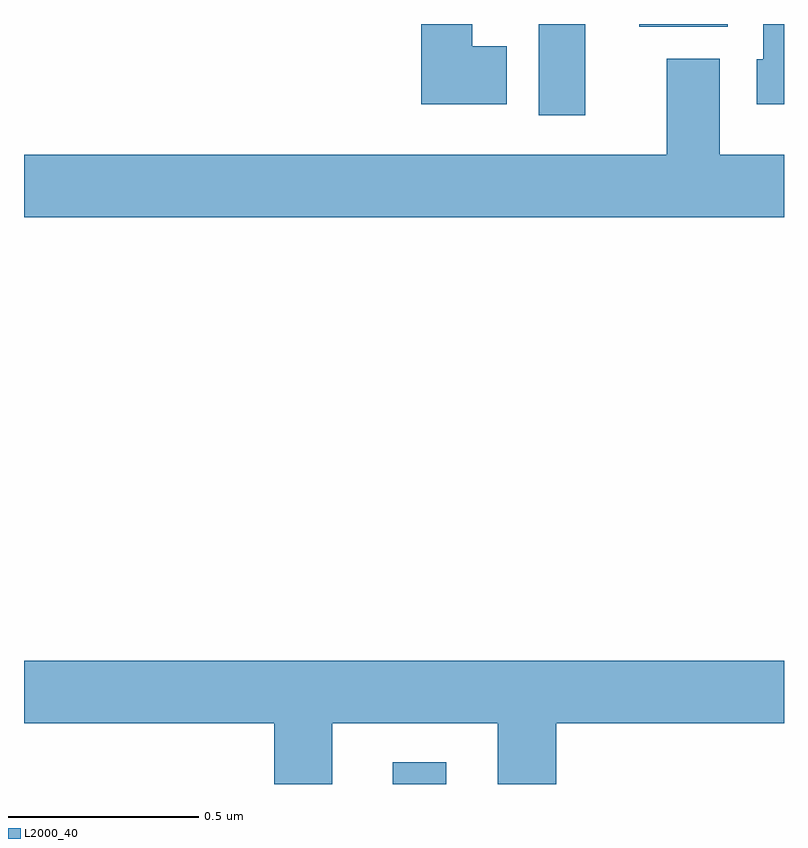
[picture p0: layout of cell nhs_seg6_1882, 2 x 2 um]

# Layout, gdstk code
import gdstk
lib = gdstk.Library(unit=1e-6, precision=1e-09)
def R(c, l, rs):  # rectangles x0, y0, x1, y1
    for r in rs: c.add(gdstk.rectangle(r[:2], r[2:], *l))
def P(c, l, *ps):  # polygons
    for p in ps: c.add(gdstk.Polygon(p, *l))
L2000_40 = (2000, 40)

nhs_seg6_1882 = lib.new_cell('nhs_seg6_1882')
R(nhs_seg6_1882, L2000_40, [(135.971,956.5,136.111,956.557), (136.355,958.26,136.477,958.5), (136.619,958.493,136.852,958.5)])
P(nhs_seg6_1882, L2000_40, [(137,958.5),(136.946,958.5),(136.946,958.407),(136.928,958.407),(136.928,958.289),(137,958.289)],
  [(136.27,958.441),(136.18,958.441),(136.18,958.5),(136.046,958.5),(136.046,958.289),(136.27,958.289)],
  [(137,958.156),(136.831,958.156),(136.831,958.408),(136.691,958.408),(136.691,958.156),(135,958.156),(135,957.992),(137,957.992)],
  [(135.811,956.66),(136.247,956.66),(136.247,956.5),(136.4,956.5),(136.4,956.66),(137,956.66),(137,956.824),(135,956.824),(135,956.66),(135.659,956.66),(135.659,956.5),(135.811,956.5)])

lib.write_gds('nhs_seg6_1882.gds')
